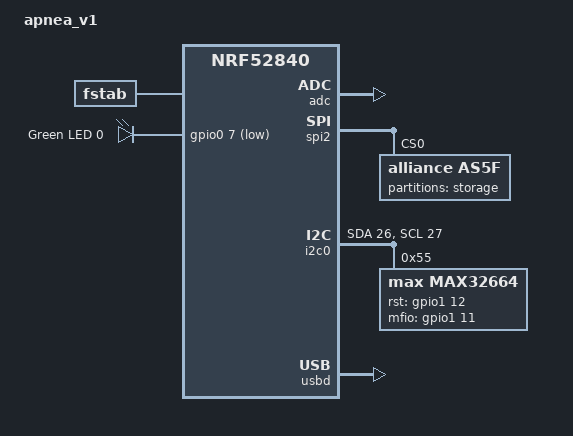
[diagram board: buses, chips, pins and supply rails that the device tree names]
// Copyright (c) 2022 Nordic Semiconductor ASA
// SPDX-License-Identifier: Apache-2.0

/dts-v1/;
#include <nordic/nrf52840_qiaa.dtsi>

/ {
	model = "apnea_v1";
	compatible = "apnea-v1";

	chosen {
		zephyr,sram = &sram0;
		zephyr,flash = &flash0;
		zephyr,code-partition = &slot0_partition;
	};

	fstab {
		compatible = "zephyr,fstab";
		lfs1: lfs1 {
			compatible = "zephyr,fstab,littlefs";
			mount-point = "/lfs";
			partition = <&lfs1_part>;
			//automount;
			read-size = <512>;
			prog-size = <4096>;
			cache-size = <4096>;
			lookahead-size = <4096>;
			//block_size = <262144>;
			//block_count = <4096>;
			block-cycles = <1>;
		};
	};

	leds {
		compatible = "gpio-leds";
		led0: led_0 {
			gpios = <&gpio0 7 GPIO_ACTIVE_LOW>;
			label = "Green LED 0";
		};
	};

	/* These aliases are provided for compatibility with samples */
	aliases {
		led0 = &led0;
		spi-flash0 = &as5f;
	};

};

&adc {
	status = "okay";
};

&gpiote {
	status = "okay";
};

&gpio0 {
	status = "okay";
};

&gpio1 {
	status = "okay";
};

&flash0 {
	partitions {
		compatible = "fixed-partitions";
		#address-cells = <1>;
		#size-cells = <1>;

		boot_partition: partition@0 {
			label = "mcuboot";
			reg = <0x0 0xc000>;
		};
		slot0_partition: partition@c000 {
			label = "image-0";
			reg = <0xc000 0x72000>;
		};
		slot1_partition: partition@7e000 {
			label = "image-1";
			reg = <0x7e000 0x72000>;
		};
		scratch_partition: partition@f0000 {
			label = "image-scratch";
			reg = <0xf0000 0xa000>;
		};
		storage_partition: partition@fa000 {
			label = "storage";
			reg = <0xfa000 0x6000>;
		};
	};
};

&spi2 {
	status = "okay";

	// See alliance,as5f.yaml
	as5f: as5f18g04snd@0 {
		compatible = "alliance,as5f";
		label = "AS5F";	// Label required for older versions of Zephyr
		reg = <0>;
		jedec-id = [52];
		size-in-bytes = <0x40000000>;
		sck-frequency = <120000000>;
	};

};

&i2c0 {
	compatible = "nordic,nrf-twi";
    status = "okay";
    sda-pin = < 26 >;
    scl-pin = < 27 >;
    max32664@55{
        status = "okay";
        compatible = "max,max32664";
        reg = < 0x55 >;
        label = "MAX32664";
        rst-gpios = <&gpio1 12 GPIO_ACTIVE_HIGH>;
        mfio-gpios = <&gpio1 11 GPIO_PULL_UP>;
    };
};

/delete-node/ &storage_partition;

&as5f {
	partitions {
		compatible = "fixed-partitions";
		#address-cells = <1>;
		#size-cells = <1>;

		lfs1_part: partition@0 {
			label = "storage";
			reg = <0x00000000 0x40000000>;	// Format compatible "fixed-partitions" is [register, space]
		};
	};
};

zephyr_udc0: &usbd {
	compatible = "nordic,nrf-usbd";
	status = "okay";
};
